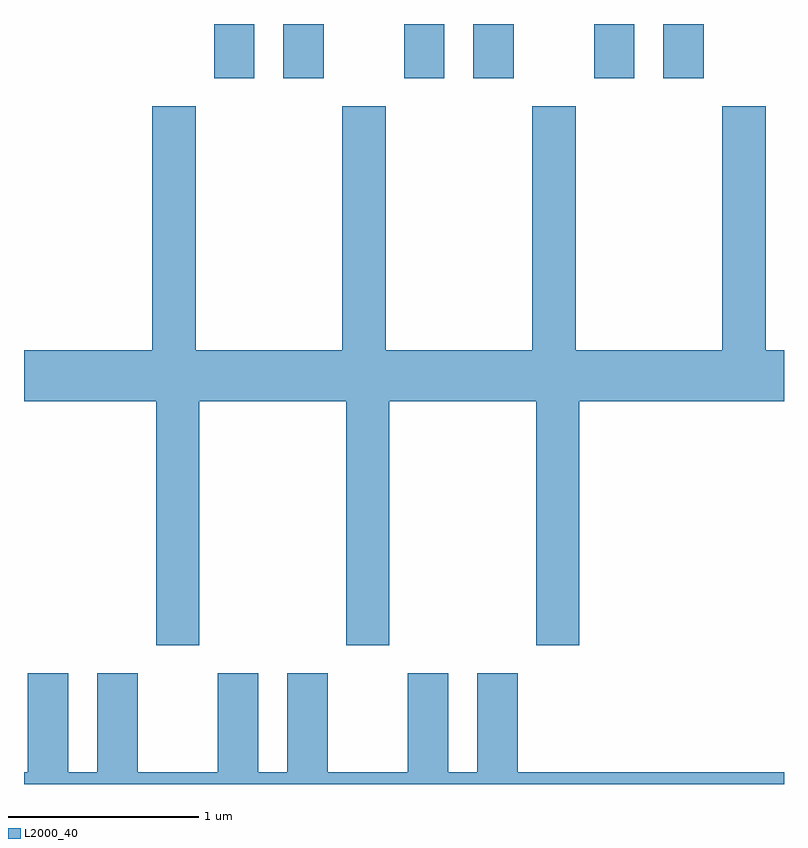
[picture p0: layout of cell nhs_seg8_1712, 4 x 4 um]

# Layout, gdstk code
import gdstk
lib = gdstk.Library(unit=1e-6, precision=1e-09)
def R(c, l, rs):  # rectangles x0, y0, x1, y1
    for r in rs: c.add(gdstk.rectangle(r[:2], r[2:], *l))
def P(c, l, *ps):  # polygons
    for p in ps: c.add(gdstk.Polygon(p, *l))
L2000_40 = (2000, 40)

nhs_seg8_1712 = lib.new_cell('nhs_seg8_1712')
R(nhs_seg8_1712, L2000_40, [(236.611,1898.056,236.824,1898.342), (236.976,1898.056,237.189,1898.342), (237.611,1898.056,237.824,1898.342), (237.976,1898.056,238.189,1898.342), (238.611,1898.056,238.824,1898.342), (238.976,1898.056,239.189,1898.342)])
P(nhs_seg8_1712, L2000_40, [(236.534,1896.356),(237.306,1896.356),(237.306,1895.071),(237.534,1895.071),(237.534,1896.356),(238.306,1896.356),(238.306,1895.071),(238.534,1895.071),(238.534,1896.356),(239.611,1896.356),(239.611,1896.624),(239.514,1896.624),(239.514,1897.909),(239.286,1897.909),(239.286,1896.624),(238.514,1896.624),(238.514,1897.909),(238.286,1897.909),(238.286,1896.624),(237.514,1896.624),(237.514,1897.909),(237.286,1897.909),(237.286,1896.624),(236.514,1896.624),(236.514,1897.909),(236.286,1897.909),(236.286,1896.624),(235.611,1896.624),(235.611,1896.356),(236.306,1896.356),(236.306,1895.071),(236.534,1895.071)],
  [(239.611,1894.404),(238.209,1894.404),(238.209,1894.924),(237.996,1894.924),(237.996,1894.404),(237.844,1894.404),(237.844,1894.924),(237.631,1894.924),(237.631,1894.404),(237.209,1894.404),(237.209,1894.924),(236.996,1894.924),(236.996,1894.404),(236.844,1894.404),(236.844,1894.924),(236.631,1894.924),(236.631,1894.404),(236.209,1894.404),(236.209,1894.924),(235.996,1894.924),(235.996,1894.404),(235.844,1894.404),(235.844,1894.924),(235.631,1894.924),(235.631,1894.404),(235.611,1894.404),(235.611,1894.342),(239.611,1894.342)])

lib.write_gds('nhs_seg8_1712.gds')
